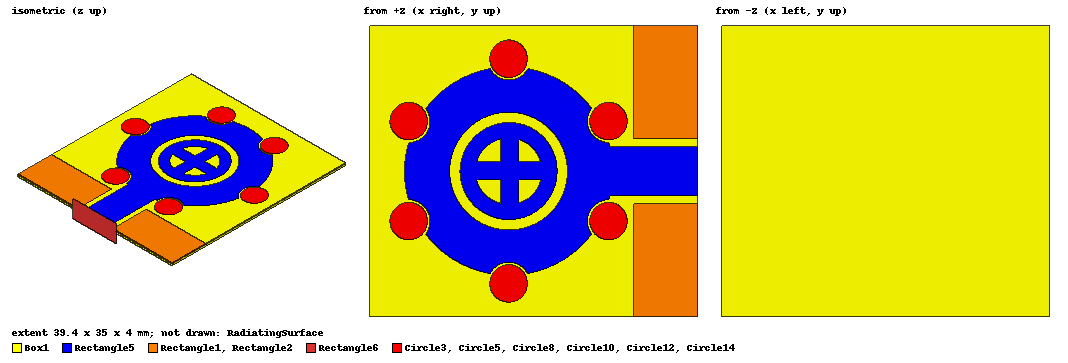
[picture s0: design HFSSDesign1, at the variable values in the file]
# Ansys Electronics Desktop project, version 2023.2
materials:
  vacuum: permittivity=1
  Rogers RO3003 (tm): permittivity=3 dielectric_loss_tangent=0.0013
  pec: conductivity=1e+30
  FR4_epoxy: permittivity=4.4 dielectric_loss_tangent=0.02

design HFSSDesign1 (HFSS, HFSS Modal Network, model units mm)
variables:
  Rp = 12.5mm
  Lf = 8.75mm
  Wf = 6mm
  Wg = 0.95mm
  Lg = 7.7mm
  Wfg = 0.3mm
  Rin = 4mm
  G = 0.3mm
  Rcp = 2.25mm
  Rc = 2.55mm
  Wst = 2.2mm
  Lsb = 39.4mm
  Wsb = 35mm
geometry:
  Box1 [Rogers RO3003 (tm)] = box(corner=(-Lsb/2, -Wsb/2, 0mm), size=(Lsb, Wsb, 0.5mm))
  Rectangle1 = rectangle(corner=(12mm, -17.5mm, 0.5mm), x_size=Lg, y_size=13.55mm)
  Rectangle2 = rectangle(corner=(12mm, 3.95mm, 0.5mm), x_size=Lg, y_size=13.55mm)
  Rectangle3 = rectangle(corner=(9.1mm, -Wf/2, 0.5mm), x_size=Lf+G+1.55mm, y_size=Wf)
  Circle1 = circle(normal=Z, centre=(-3mm, 0mm, 0.5mm), radius=Rp)
  Rectangle3.unite(Circle1)
  Circle3 = circle(normal=Z, centre=(-15mm, -6mm, 0.5mm), radius=Rcp)
  Circle4 = circle(normal=Z, centre=(-15mm, -6mm, 0.5mm), radius=Rcp+G)
  Circle5 = circle(normal=Z, centre=(-15mm, 6mm, 0.5mm), radius=Rcp)
  Circle6 = circle(normal=Z, centre=(-15mm, 6mm, 0.5mm), radius=Rcp+G)
  Circle7 = circle(normal=Z, centre=(-3mm, 0mm, 0.5mm), radius=Rin)
  Rectangle3.subtract(Circle7)
  Circle8 = circle(normal=Z, centre=(-3mm, -13.5mm, 0.5mm), radius=Rcp)
  Circle9 = circle(normal=Z, centre=(-3mm, -13.5mm, 0.5mm), radius=Rcp+G)
  Circle10 = circle(normal=Z, centre=(-3mm, 13.5mm, 0.5mm), radius=Rcp)
  Circle11 = circle(normal=Z, centre=(-3mm, 13.5mm, 0.5mm), radius=Rcp+G)
  Circle12 = circle(normal=Z, centre=(9mm, -6mm, 0.5mm), radius=Rcp)
  Circle13 = circle(normal=Z, centre=(9mm, -6mm, 0.5mm), radius=Rcp+G)
  Circle14 = circle(normal=Z, centre=(9mm, 6mm, 0.5mm), radius=Rcp)
  Circle15 = circle(normal=Z, centre=(9mm, 6mm, 0.5mm), radius=Rcp+G)
  Rectangle3.subtract(Circle11, Circle13, Circle15, Circle4, Circle6, Circle9)
  Rectangle4 = rectangle(corner=(-7mm, -1mm, 0.5mm), x_size=8mm, y_size=Wst)
  Rectangle5 = rectangle(corner=(-4mm, 4mm, 0.5mm), x_size=Wst, y_size=-8mm)
  Rectangle5.unite(Rectangle4, Rectangle3)
  Rectangle6 = rectangle(corner=(19.7mm, -5mm, 2mm), y_size=10mm, z_size=-4mm)
  RadiatingSurface [vacuum] = region(absolute_offset: +X=0mm, -X=13.793103mm, +Y=13.793103mm, -Y=13.793103mm, +Z=13.793103mm, -Z=13.793103mm)
  Circle16 = circle(normal=Z, centre=(-3mm, 0mm, 0.5mm), radius=5.8309519mm)
  Circle17 = circle(normal=Z, centre=(-3mm, 0mm, 0.5mm), radius=7.0710678mm)
  Circle17.subtract(Circle16)
  Rectangle5.subtract(Circle17)
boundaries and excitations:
  PerfE1: Perfect E Objects=[Rectangle5, Circle12, Circle8, Circle3, Circle5, Circle10, Circle14]
  PerfE2: Perfect E Objects=[Rectangle1, Rectangle2]
  Open1: Radiation Objects=RadiatingSurface
  1: Wave Port Objects=Rectangle6 WavePortType=Modal NumModes=1 Modes{Mode1{CharImp=Zpi}}
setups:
  Setup1: HfssDriven Frequency=7.25GHz MaxDeltaS=0.02 MaximumPasses=6 MinimumPasses=1 MinimumConvergedPasses=1 PercentRefinement=30 BasisOrder=1 PortAccuracy=2 DrivenSolverType="Direct Solver"
    sweep Sweep: 2GHz to 12GHz, 401 points; Type=Interpolating SaveFields InterpTolerance=0.5 InterpMaxSolns=250 InterpUsePortImped=false PassivityErrorTolerance=0.0001
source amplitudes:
  1:1: 1W 0deg
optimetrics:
  ParametricSetup1: Parametric Sim._Setups=[Setup1]
    sweep Rp: LIN 10mm 14mm 2.5mm
  ParametricSetup2: Parametric Sim._Setups=[Setup1]
    sweep Rc: LIN 2mm 2.9mm 0.55mm
  ParametricSetup3: Parametric Sim._Setups=[Setup1]
    sweep G: LIN 0.1mm 0.3mm 0.1mm
  ParametricSetup4: Parametric Sim._Setups=[Setup1]
    sweep Lg: LIN 5mm 10.4mm 2.7mm
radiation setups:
  3D: Infinite Sphere Theta=0deg..180deg step 2deg Phi=-180deg..180deg step 2deg
  Elevation: Infinite Sphere Theta=-180deg..180deg step 1deg Phi=0deg..90deg step 90deg
  Azimuth: Infinite Sphere Theta=90deg..90deg step 0deg Phi=-180deg..180deg step 1deg
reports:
  S Parameter Plot 1: dB(S(1,1)) vs Freq on Setup1 : Sweep; markers m1 at 4.925GHz, m2 at 2.45GHz, m3 at 7.725GHz, m4 at 10.4GHz
  Gain Plot 1: GainTotal vs Phi, Theta on Setup1 : LastAdaptive, 3D [Freq=7.25GHz Rp=12.5mm G=0.3mm Rc=2.55mm]
  S Parameter Plot 2: dB(S(1,1)) vs Freq on Setup1 : Sweep [Rp=all G=0.3mm Rc=2.55mm]
  S Parameter Plot 3: dB(S(1,1)) vs Freq on Setup1 : Sweep [Rp=12.5mm Lg=all G=0.3mm Rc=2.55mm]
